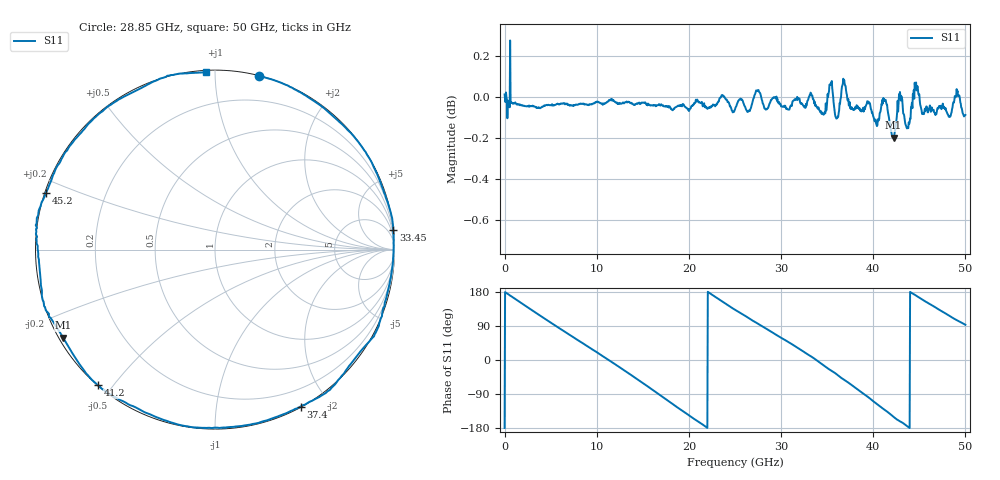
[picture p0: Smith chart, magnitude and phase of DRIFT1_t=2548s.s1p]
!Created with skrf (http://scikit-rf.org).
# Hz S RI R 50.0
!freq ReS11 ImS11
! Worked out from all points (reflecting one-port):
!   1001 points, 300 kHz to 50 GHz, reference 50 ohm
!   lowest |S11| = -0.2 dB at 42.2 GHz (marker M1), VSWR 87.95, Z = 0.61 - j13.4 ohm
!   phase of S11 starts at -179 deg and turns -808 deg over the sweep
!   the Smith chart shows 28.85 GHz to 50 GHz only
!   S11 on the Smith chart (normalised r, x): 28.85 GHz: 0.00, +1.28; 33.45 GHz: 0, +18; 37.4 GHz: 0.01, -1.68; 41.2 GHz: 0.00, -0.46; 45.2 GHz: 0.00, +0.16; 50 GHz: 0.01, +0.95
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300000  -1.001 -0.00911
1.65029e9  -0.8866 0.4526
3.450279e9  -0.5504 0.8281
6.250262e9  0.1905 0.9779
9.600242e9  0.8908 0.4463
1.250022e10  0.9394 -0.3333
1.400022e10  0.7143 -0.6936
1.580021e10  0.2687 -0.9583
1.72502e10  -0.1585 -0.9822
1.875019e10  -0.5722 -0.8139
2.045018e10  -0.8919 -0.4419
2.185017e10  -0.9923 -0.0599
2.345016e10  -0.9229 0.3843
2.500015e10  -0.6712 0.7319
2.710014e10  -0.1968 0.9813
2.885013e10  0.2449 0.9669
3.125011e10  0.7578 0.6488
3.34501e10  0.993 0.1085
3.545009e10  0.8901 -0.4706
3.740008e10  0.4764 -0.8744
3.750008e10  0.4473 -0.8873
3.940006e10  -0.1224 -0.9899
4.120005e10  -0.6523 -0.7564
4.220005e10  -0.8458 -0.4901
4.375004e10  -0.9806 -0.0702
4.520003e10  -0.9426 0.314
4.765001e10  -0.5783 0.8084
5e10  -0.0479 0.9888
